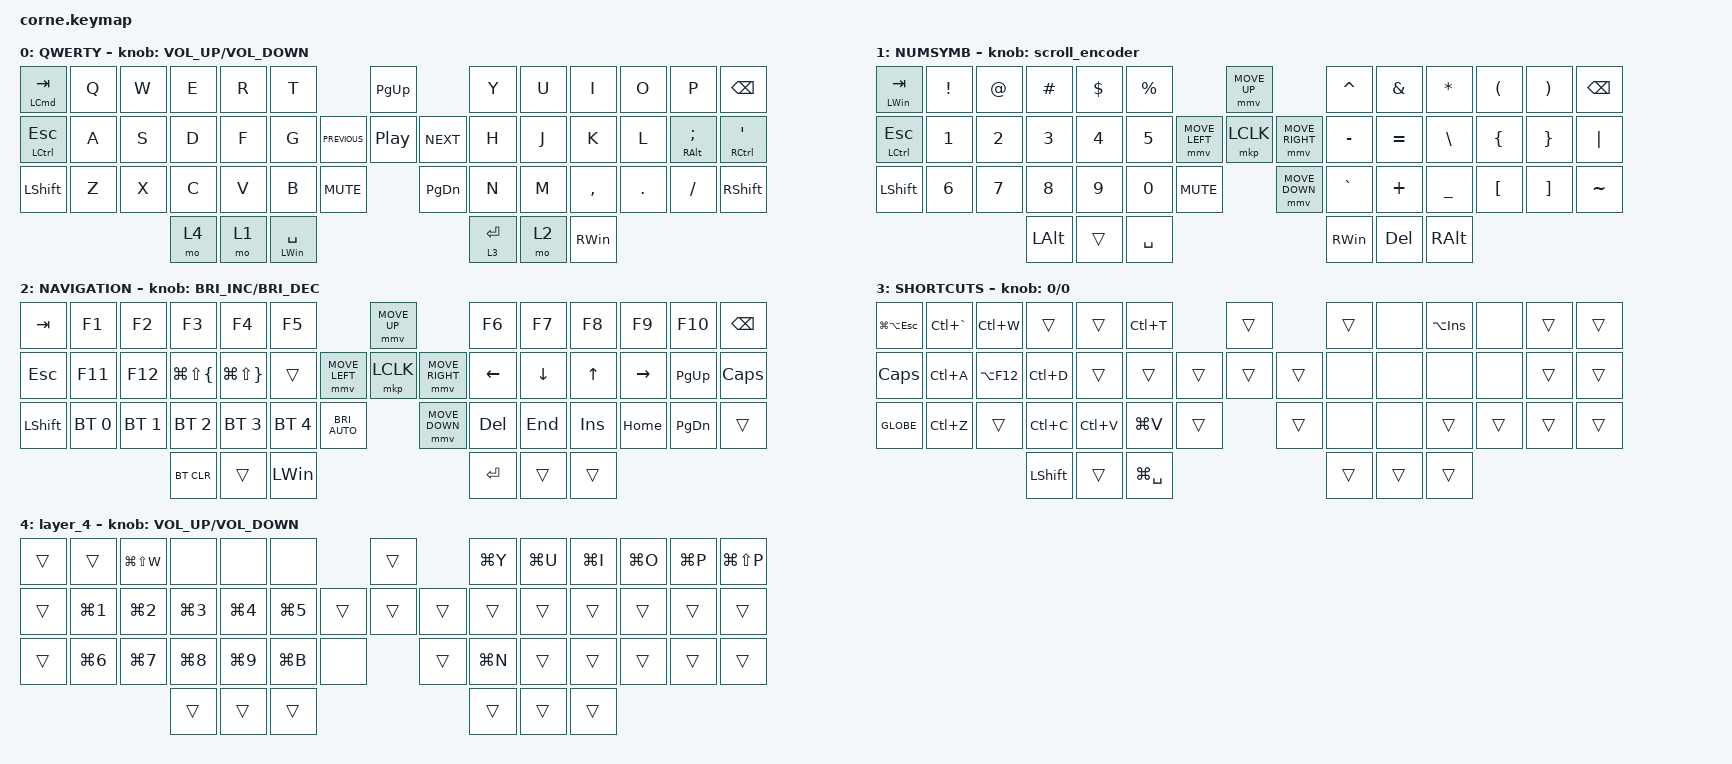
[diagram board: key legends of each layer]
#include <dt-bindings/zmk/mouse.h>
#include <input/processors.dtsi>
#include <behaviors.dtsi>
#include <dt-bindings/zmk/bt.h>
#include <dt-bindings/zmk/keys.h>
#include <dt-bindings/zmk/pointing.h>
#include <dt-bindings/zmk/rgb.h>

/*

   &mmv_input_listener {
       input-processors = <&zip_xy_scaler 2 1>;
   };

   &msc_input_listener {
       input-processors = <&zip_xy_scaler 2 1>;
   };

 */

#define ZMK_MOUSE_DEFAULT_MOVE_VAL 1200  // 600
#define ZMK_MOUSE_DEFAULT_SCRL_VAL 20    // 10

/ {
    behaviors {
        td0: td0 {
            compatible = "zmk,behavior-tap-dance";
            display-name = "Shift/Caps Lock Tap Dance";
            #binding-cells = <0>;
            bindings = <&kp LEFT_SHIFT>, <&kp CAPS>;
        };

        HMR: HMR {
            compatible = "zmk,behavior-hold-tap";
            label = "HMR";
            bindings = <&kp>, <&kp>;

            #binding-cells = <2>;
            flavor = "tap-preferred";
            tapping-term-ms = <200>;
            quick-tap-ms = <150>;
        };
    };

    rgb_encoder: rgb_encoder {
        compatible = "zmk,behavior-sensor-rotate";
        #sensor-binding-cells = <0>;
        bindings = <&rgb_ug RGB_BRI>, <&rgb_ug RGB_BRD>;
    };

    scroll_encoder: scroll_encoder {
        compatible = "zmk,behavior-sensor-rotate";
        #sensor-binding-cells = <0>;
        bindings = <&msc SCRL_DOWN>, <&msc SCRL_UP>;

        tap-ms = <30>;
    };

    keymap {
        compatible = "zmk,keymap";

        default_layer {
            display-name = "QWERTY";
            bindings = <
&HMR LEFT_COMMAND TAB     &kp Q  &kp W  &kp E  &kp R  &kp T                                              &kp PAGE_UP                   &kp Y        &kp U  &kp I          &kp O    &kp P                &kp BSPC
&HMR LEFT_CONTROL ESCAPE  &kp A  &kp S  &kp D  &kp F  &kp G                              &kp C_PREVIOUS  &kp C_PLAY_PAUSE  &kp C_NEXT  &kp H        &kp J  &kp K          &kp L    &HMR RIGHT_ALT SEMI  &HMR RIGHT_CONTROL APOSTROPHE
&kp LEFT_SHIFT            &kp Z  &kp X  &kp C  &kp V  &kp B                &kp C_MUTE                    &kp PAGE_DOWN                 &kp N        &kp M  &kp COMMA      &kp DOT  &kp FSLH             &kp RIGHT_SHIFT
                                        &mo 4  &mo 1  &HMR LEFT_WIN SPACE                                                              &lt 3 ENTER  &mo 2  &kp RIGHT_WIN
            >;

            sensor-bindings = <&inc_dec_kp C_VOLUME_UP C_VOLUME_DOWN>;
        };

        lower_layer {
            display-name = "NUMSYMB";
            bindings = <
&HMR LEFT_WIN TAB         &kp EXCL      &kp AT  &kp POUND     &kp DOLLAR    &kp PERCENT                                &mmv MOVE_UP                     &kp CARET      &kp AMPERSAND  &kp STAR        &kp LEFT_PARENTHESIS  &kp RIGHT_PARENTHESIS  &kp BSPC
&HMR LEFT_CONTROL ESCAPE  &kp N1        &kp N2  &kp NUMBER_3  &kp NUMBER_4  &kp N5                     &mmv MOVE_LEFT  &mkp LCLK       &mmv MOVE_RIGHT  &kp MINUS      &kp EQUAL      &kp BACKSLASH   &kp LEFT_BRACE        &kp RIGHT_BRACE        &kp PIPE
&kp LEFT_SHIFT            &kp NUMBER_6  &kp N7  &kp N8        &kp N9        &kp N0       &kp C_MUTE                    &mmv MOVE_DOWN                   &kp GRAVE      &kp PLUS       &kp UNDERSCORE  &kp LEFT_BRACKET      &kp RIGHT_BRACKET      &kp TILDE
                                                &kp LEFT_ALT  &trans        &kp SPACE                                                                   &kp RIGHT_WIN  &kp DEL        &kp RIGHT_ALT
            >;

            sensor-bindings = <&scroll_encoder>;
        };

        raise_layer {
            display-name = "NAVIGATION";
            bindings = <
&kp TAB         &kp F1        &kp F2        &kp F3                  &kp F4                   &kp F5                                                 &mmv MOVE_UP                     &kp F6    &kp F7    &kp F8        &kp F9     &kp F10        &kp BSPC
&kp ESCAPE      &kp F11       &kp F12       &kp LG(LS(LEFT_BRACE))  &kp LG(LS(RIGHT_BRACE))  &trans                                 &mmv MOVE_LEFT  &mkp LCLK       &mmv MOVE_RIGHT  &kp LEFT  &kp DOWN  &kp UP_ARROW  &kp RIGHT  &kp PAGE_UP    &kp CAPSLOCK
&kp LEFT_SHIFT  &bt BT_SEL 0  &bt BT_SEL 1  &bt BT_SEL 2            &bt BT_SEL 3             &bt BT_SEL 4  &kp C_BRIGHTNESS_AUTO                    &mmv MOVE_DOWN                   &kp DEL   &kp END   &kp INS       &kp HOME   &kp PAGE_DOWN  &trans
                                            &bt BT_CLR              &trans                   &kp LEFT_WIN                                                                            &kp RET   &trans    &trans
            >;

            sensor-bindings = <&inc_dec_kp C_BRIGHTNESS_INC C_BRIGHTNESS_DEC>;
        };

        layer_3 {
            display-name = "SHORTCUTS";
            bindings = <
&kp LG(LA(ESCAPE))  &kp LC(GRAVE)  &kp LC(W)    &trans          &trans     &kp LC(T)                        &trans          &trans  &none   &kp LA(INSERT)  &none   &trans  &trans
&kp CAPSLOCK        &kp LC(A)      &kp LA(F12)  &kp LC(D)       &trans     &trans                   &trans  &trans  &trans  &none   &none   &none           &none   &trans  &trans
&kp GLOBE           &kp LC(Z)      &trans       &kp LC(C)       &kp LC(V)  &kp LG(V)      &trans            &trans          &none   &none   &trans          &trans  &trans  &trans
                                                &kp LEFT_SHIFT  &trans     &kp LG(SPACE)                                    &trans  &trans  &trans
            >;

            sensor-bindings = <&inc_dec_kp 0 0>;
        };

        layer_4 {
            bindings = <
&trans  &trans      &kp LG(LS(W))  &none       &none       &none                        &trans          &kp LG(Y)  &kp LG(U)  &kp LG(I)  &kp LG(O)  &kp LG(P)  &kp LG(LS(P))
&trans  &kp LG(N1)  &kp LG(N2)     &kp LG(N3)  &kp LG(N4)  &kp LG(N5)           &trans  &trans  &trans  &trans     &trans     &trans     &trans     &trans     &trans
&trans  &kp LG(N6)  &kp LG(N7)     &kp LG(N8)  &kp LG(N9)  &kp LG(B)   &none            &trans          &kp LG(N)  &trans     &trans     &trans     &trans     &trans
                                   &trans      &trans      &trans                                       &trans     &trans     &trans
            >;

            sensor-bindings = <&inc_dec_kp C_VOLUME_UP C_VOLUME_DOWN>;
        };
    };
};
